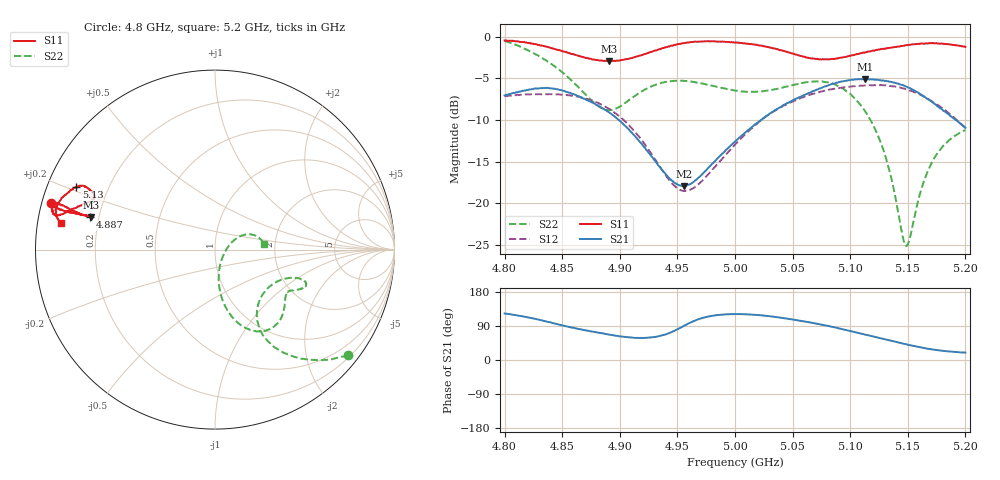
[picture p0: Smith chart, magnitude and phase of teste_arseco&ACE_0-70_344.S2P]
! Network Analyzer HP8722D
! Hewlett-Packard
! Data name: Linha & Wilkinson
! Saver's name: Rodrigo Anjos
! Comments: Teste da utilização de aquisição
! continua pelo VNA HP8722D
! Time and date: 8/5/2025 15:37
!  Frequency  S11  S21  S12  S22
# HZ  S  MA R 50
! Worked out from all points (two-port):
!   401 points, 4.8 GHz to 5.2 GHz, reference 50 ohm
!   highest |S21| = -5.07 dB at 5.113 GHz (marker M1); lowest = -17.9 dB at 4.956 GHz (marker M2)
!   |S21| within 3 dB of the highest: start of sweep to 4.879 GHz; 5.044 GHz to 5.174 GHz (129.7 MHz wide, 2.54 % of centre)
!   lowest |S11| = -2.9 dB at 4.891 GHz (marker M3), VSWR 6.00, Z = 8.47 + j6.3 ohm
!   |S11| at or under -10 dB: nowhere
!   |S22| runs from -25.2 to -0.5 dB; largest |S21 - S12| = 0.72
!   S11 on the Smith chart (normalised r, x): 4.8 GHz: 0.03, +0.14; 4.887 GHz: 0.17, +0.13; 5.13 GHz: 0.09, +0.21; 5.2 GHz: 0.07, +0.09
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4.8e9  0.9513 164.1  0.4446 122.9  0.4411 17.3  0.9444 -38.4
4.834e9  0.8811 165.5  0.4929 103.4  0.4519 6.7  0.735 -53.8
4.867e9  0.7597 165.3  0.4309 80.1  0.431 -7.6  0.4759 -59.7
4.887e9  0.718 165.2  0.3646 69.2  0.3822 -19.3  0.3662 -44.0
4.891e9  0.7143 165.2  0.3505 67.0  0.3689 -21.8  0.3626 -38.9
4.91e9  0.7446 165.3  0.2674 59.3  0.2843 -31.8  0.4263 -22.3
4.934e9  0.8416 164.5  0.1674 62.8  0.1696 -31.6  0.5233 -19.3
4.956e9  0.9168 163.5  0.1267 90.6  0.1184 -1.8  0.5431 -22.2
4.969e9  0.9353 164.1  0.1437 108.3  0.1313 18.8  0.529 -24.4
5e9  0.9248 167.1  0.2353 121.0  0.2254 38.7  0.4753 -28.8
5.034e9  0.8527 165.6  0.3591 114.0  0.3579 34.1  0.4837 -36.0
5.067e9  0.7431 158.4  0.4703 98.0  0.4544 19.5  0.5381 -50.0
5.092e9  0.7501 155.1  0.5387 82.2  0.4949 5.6  0.496 -65.2
5.113e9  0.8064 154.0  0.5577 67.1  0.5104 -7.3  0.3568 -77.8
5.13e9  0.847 155.8  0.5423 55.2  0.5107 -18.0  0.1974 -83.6
5.134e9  0.858 156.5  0.5379 52.0  0.5064 -20.7  0.1579 -82.5
5.145e9  0.8814 159.2  0.5132 44.2  0.4925 -28.2  0.0661 -55.4
5.149e9  0.8914 160.4  0.5015 41.1  0.4837 -30.9  0.05524 -23.4
5.162e9  0.9121 163.4  0.4473 32.7  0.4453 -39.1  0.1232 26.6
5.171e9  0.9153 165.4  0.4055 27.9  0.4096 -43.8  0.1759 27.3
5.184e9  0.9044 167.9  0.3488 23.0  0.3549 -49.2  0.2332 20.2
5.2e9  0.8701 170.0  0.284 19.5  0.2829 -53.4  0.2754 6.6
